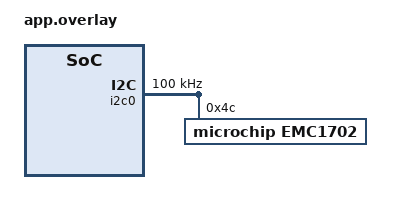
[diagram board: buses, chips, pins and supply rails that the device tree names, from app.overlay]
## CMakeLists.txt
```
cmake_minimum_required(VERSION 3.20.0)
find_package(Zephyr REQUIRED HINTS $ENV{ZEPHYR_BASE})
project(esp32s3_i2c_test)

target_sources(app PRIVATE src/main.c)
```

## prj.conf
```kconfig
# Console
CONFIG_SERIAL=y
CONFIG_CONSOLE=y
CONFIG_UART_CONSOLE=y
CONFIG_PRINTK=y
CONFIG_BOOT_BANNER=y

# Logging
CONFIG_LOG=y
CONFIG_LOG_MODE_MINIMAL=y

# I2C + sensor subsystem
CONFIG_I2C=y
CONFIG_SENSOR=y
CONFIG_EMC1702=y

# Stack
CONFIG_MAIN_STACK_SIZE=4096
```

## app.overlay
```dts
/*
 * Copyright (c) 2026  Microchip Technology Inc. and its subsidiaries
 * SPDX-License-Identifier: Apache-2.0
 *
 * Overlay for esp32s3_devkitc/esp32s3/procpu
 *
 * I2C0 on:
 *   SDA = GPIO8
 *   SCL = GPIO9
 *
 * Instantiates an EMC1702 sensor at I2C address 0x4C (Current 3 Click,
 * ADDR_SEL strapped to GND via R6 = 0 ohm). Adjust sense-resistor-milliohms
 * to match the actual Rsense on your setup.
 */

&pinctrl {
	i2c0_default: i2c0_default {
		group1 {
			pinmux = <I2C0_SDA_GPIO8>,
				 <I2C0_SCL_GPIO9>;
			bias-pull-up;
			drive-open-drain;
			output-high;
		};
	};
};

&i2c0 {
	clock-frequency = <I2C_BITRATE_STANDARD>;
	pinctrl-0 = <&i2c0_default>;
	pinctrl-names = "default";
	status = "okay";

	emc1702: emc1702@4c {
		compatible = "microchip,emc1702";
		reg = <0x4c>;
		sense-resistor-milliohms = <10>;
		current-sense-range-mv = <10>;
		current-sense-sampling-time = <82>;
		current-sense-queue = <1>;
		voltage-source-queue = <1>;
		resistance-error-correction;
		conversion-rate = <4000>;
		external-diode-is-present;
	};
};
```

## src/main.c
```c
/*
 * Copyright (c) 2026  Microchip Technology Inc. and its subsidiaries
 * SPDX-License-Identifier: Apache-2.0
 *
 * EMC1702 sensor driver sample app
 *
 * Periodically reads die temperature, ambient temperature, bus voltage,
 * current, and power from the EMC1702 via the Zephyr sensor API, and
 * prints decoded values to the console.
 */

#include <zephyr/device.h>
#include <zephyr/drivers/sensor.h>
#include <zephyr/kernel.h>
#include <zephyr/sys/printk.h>

#define SAMPLE_PERIOD_MS 1000

/* 10^n lookup for scaling the micro (val2) part down to the requested decimals. */
static const int32_t pow10[] = {1, 10, 100, 1000, 10000, 100000, 1000000};

static void print_chan(const char *label, const struct sensor_value *v, const char *unit,
		       int decimals)
{
	/* sensor_value: val1 = integer part, val2 = micro part (signed). */
	int32_t frac_part = v->val2;
	int32_t int_part = v->val1;
	int sign = 1;

	if (int_part < 0 || frac_part < 0) {
		sign = -1;
		if (int_part < 0) {
			int_part = -int_part;
		}
		if (frac_part < 0) {
			frac_part = -frac_part;
		}
	}

	int32_t frac_scaled = frac_part / pow10[6 - decimals];

	printk("%s= %s%d.%0*d %s  ", label, sign < 0 ? "-" : "", (int)int_part, decimals,
	       (int)frac_scaled, unit);
}

int main(void)
{
	const struct device *const emc = DEVICE_DT_GET_ONE(microchip_emc1702);

	if (!device_is_ready(emc)) {
		printk("EMC1702 not ready\n");
		return -1;
	}
	printk("EMC1702 ready, sampling every %d ms\n", SAMPLE_PERIOD_MS);

	uint32_t t = 0;

	while (1) {
		struct sensor_value temp, temp_amb, vbus, current, power;
		int rc = sensor_sample_fetch(emc);

		if (rc) {
			printk("[%6u ms] fetch failed: %d\n", t, rc);
			goto wait;
		}
		sensor_channel_get(emc, SENSOR_CHAN_DIE_TEMP, &temp);
		sensor_channel_get(emc, SENSOR_CHAN_AMBIENT_TEMP, &temp_amb);
		sensor_channel_get(emc, SENSOR_CHAN_VOLTAGE, &vbus);
		sensor_channel_get(emc, SENSOR_CHAN_CURRENT, &current);
		sensor_channel_get(emc, SENSOR_CHAN_POWER, &power);

		printk("[%6u ms]  ", t);
		print_chan("Tdie", &temp, "C", 2);
		print_chan("Tamb", &temp_amb, "C", 2);
		print_chan("Vbus", &vbus, "V", 3);
		print_chan("I", &current, "A", 4);
		print_chan("P", &power, "W", 4);
		printk("\n");

wait:
		k_msleep(SAMPLE_PERIOD_MS);
		t += SAMPLE_PERIOD_MS;
	}
	return 0;
}
```
